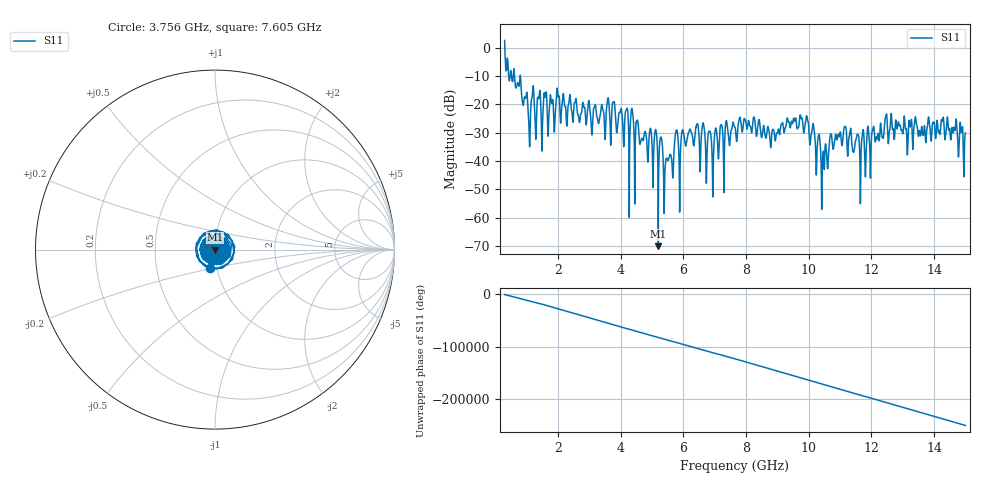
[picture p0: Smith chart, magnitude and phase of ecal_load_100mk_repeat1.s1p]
# GHZ S RI R 50.0
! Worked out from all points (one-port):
!   12801 points, 300 MHz to 15 GHz, reference 50 ohm
!   lowest |S11| = -70.1 dB at 5.204 GHz (marker M1), VSWR 1.00, Z = 50 + j0.0256 ohm
!   |S11| at or under -10 dB: 426.5 MHz to 479.3 MHz (52.83 MHz wide, 11.7 % of centre); 615.8 MHz to 794.4 MHz (178.5 MHz wide, 25.3 % of centre); 804.9 MHz to end of sweep (the widest 3 of 4)
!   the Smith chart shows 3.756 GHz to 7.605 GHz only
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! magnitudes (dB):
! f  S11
! 300 MHz  2.5
! 1.092 GHz  -33.9
! 1.197 GHz  -15.2
! 1.312 GHz  -27.3
! 1.393 GHz  -17.8
! 1.514 GHz  -25.3
! 1.59 GHz  -17.5
! 2.138 GHz  -19.9
! 3.975 GHz  -23.0
! 5.204 GHz  -70.1
! 5.296 GHz  -31.7
! 5.435 GHz  -40.4
! 5.812 GHz  -30.0
! 6.435 GHz  -27.0
! 6.939 GHz  -51.0
! 7.204 GHz  -27.2
! 7.65 GHz  -28.1
! 8.81 GHz  -32.9
! 9.488 GHz  -26.7
! 9.941 GHz  -24.2
! 10.45 GHz  -38.7
! 10.71 GHz  -30.5
! 11.32 GHz  -29.2
! 11.64 GHz  -46.6
! 12.45 GHz  -24.6
! 13.16 GHz  -34.8
! 14.26 GHz  -26.1
! 15 GHz  -30.1
